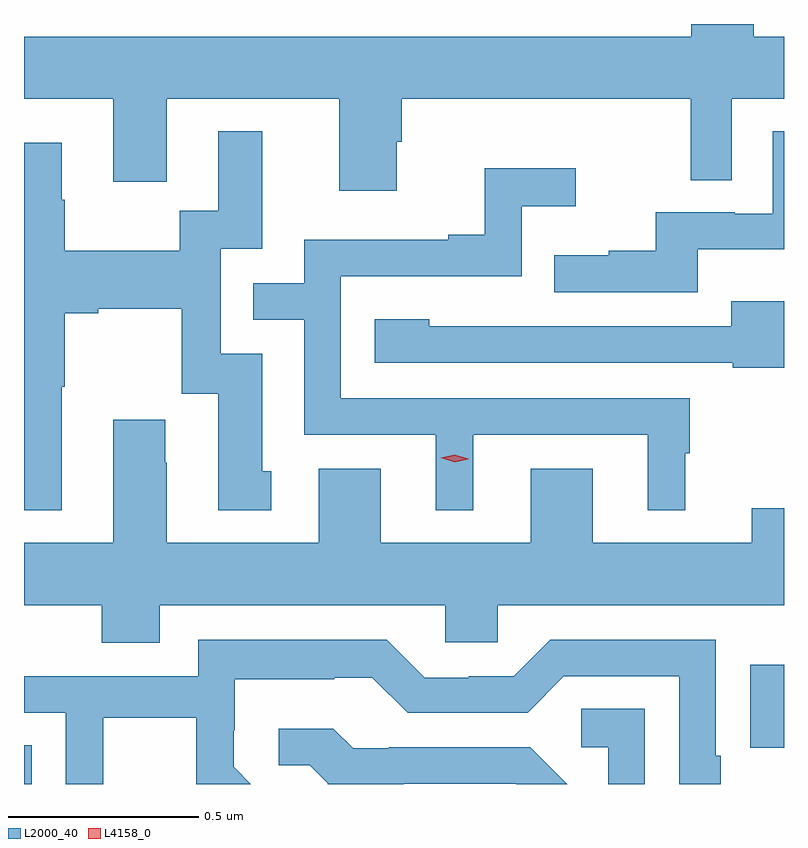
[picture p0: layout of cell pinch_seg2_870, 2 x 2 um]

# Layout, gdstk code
import gdstk
lib = gdstk.Library(unit=1e-6, precision=1e-09)
def R(c, l, rs):  # rectangles x0, y0, x1, y1
    for r in rs: c.add(gdstk.rectangle(r[:2], r[2:], *l))
def P(c, l, *ps):  # polygons
    for p in ps: c.add(gdstk.Polygon(p, *l))
L2000_40 = (2000, 40)
L4158_0 = (4158, 0)

pinch_seg2_870 = lib.new_cell('pinch_seg2_870')
R(pinch_seg2_870, L2000_40, [(874.984,588.557,875.005,588.659), (876.895,588.652,876.984,588.871)])
P(pinch_seg2_870, L2000_40, [(875.965,590.247),(875.978,590.247),(875.978,590.36),(876.738,590.36),(876.738,590.146),(876.846,590.146),(876.846,590.36),(876.984,590.36),(876.984,590.524),(876.904,590.524),(876.904,590.557),(876.74,590.557),(876.74,590.524),(874.984,590.524),(874.984,590.36),(875.219,590.36),(875.219,590.142),(875.359,590.142),(875.359,590.36),(875.813,590.36),(875.813,590.118),(875.965,590.118)],
  [(876.757,589.964),(876.984,589.964),(876.984,590.275),(876.954,590.275),(876.954,590.058),(876.854,590.058),(876.854,590.061),(876.647,590.061),(876.647,589.96),(876.523,589.96),(876.523,589.948),(876.379,589.948),(876.379,589.851),(876.757,589.851)],
  [(875.083,589.603),(875.091,589.603),(875.091,589.796),(875.179,589.796),(875.179,589.808),(875.399,589.808),(875.399,589.584),(875.495,589.584),(875.495,589.278),(875.635,589.278),(875.635,589.38),(875.611,589.38),(875.611,589.689),(875.502,589.689),(875.502,589.965),(875.611,589.965),(875.611,590.275),(875.495,590.275),(875.495,590.066),(875.394,590.066),(875.394,589.96),(875.091,589.96),(875.091,590.094),(875.083,590.094),(875.083,590.245),(874.984,590.245),(874.984,589.277),(875.083,589.277)],
  [(876.166,589.476),(876.626,589.476),(876.626,589.277),(876.724,589.277),(876.724,589.428),(876.736,589.428),(876.736,589.572),(875.817,589.572),(875.817,589.893),(876.294,589.893),(876.294,590.078),(876.436,590.078),(876.436,590.177),(876.196,590.177),(876.196,590.002),(876.101,590.002),(876.101,589.989),(875.721,589.989),(875.721,589.875),(875.587,589.875),(875.587,589.779),(875.721,589.779),(875.721,589.476),(876.068,589.476),(876.068,589.277),(876.166,589.277)],
  [(876.984,589.828),(876.845,589.828),(876.845,589.761),(876.287,589.761),(876.287,589.762),(876.051,589.762),(876.051,589.78),(875.907,589.78),(875.907,589.665),(876.849,589.665),(876.849,589.653),(876.984,589.653)],
  [(876.093,588.93),(876.231,588.93),(876.231,589.028),(876.984,589.028),(876.984,589.283),(876.899,589.283),(876.899,589.192),(876.481,589.192),(876.481,589.387),(876.317,589.387),(876.317,589.192),(875.923,589.192),(875.923,589.387),(875.759,589.387),(875.759,589.192),(875.359,589.192),(875.359,589.403),(875.356,589.403),(875.356,589.516),(875.219,589.516),(875.219,589.192),(874.984,589.192),(874.984,589.028),(875.189,589.028),(875.189,588.929),(875.341,588.929),(875.341,589.028),(876.093,589.028)],
  [(875.193,588.732),(875.437,588.732),(875.437,588.557),(875.581,588.557),(875.536,588.602),(875.536,588.699),(875.538,588.699),(875.538,588.833),(875.801,588.833),(875.801,588.837),(875.901,588.837),(875.994,588.744),(876.309,588.744),(876.405,588.84),(876.708,588.84),(876.708,588.557),(876.817,588.557),(876.817,588.631),(876.804,588.631),(876.804,588.936),(876.369,588.936),(876.273,588.84),(876.155,588.84),(876.155,588.837),(876.039,588.837),(875.939,588.937),(875.442,588.937),(875.442,588.84),(874.984,588.84),(874.984,588.744),(875.094,588.744),(875.094,588.557),(875.193,588.557)],
  [(876.618,588.755),(876.45,588.755),(876.45,588.654),(876.522,588.654),(876.522,588.557),(876.618,588.557)],
  [(875.983,588.558),(876.278,588.558),(876.279,588.557),(876.413,588.557),(876.316,588.654),(875.944,588.654),(875.944,588.651),(875.85,588.651),(875.798,588.703),(875.655,588.703),(875.655,588.606),(875.736,588.606),(875.783,588.559),(875.783,588.557),(875.983,588.557)])
P(pinch_seg2_870, L4158_0, [(876.117,589.404),(876.081,589.415),(876.081,589.415),(876.081,589.415),(876.117,589.424),(876.153,589.413),(876.153,589.412),(876.153,589.412)])

lib.write_gds('pinch_seg2_870.gds')
